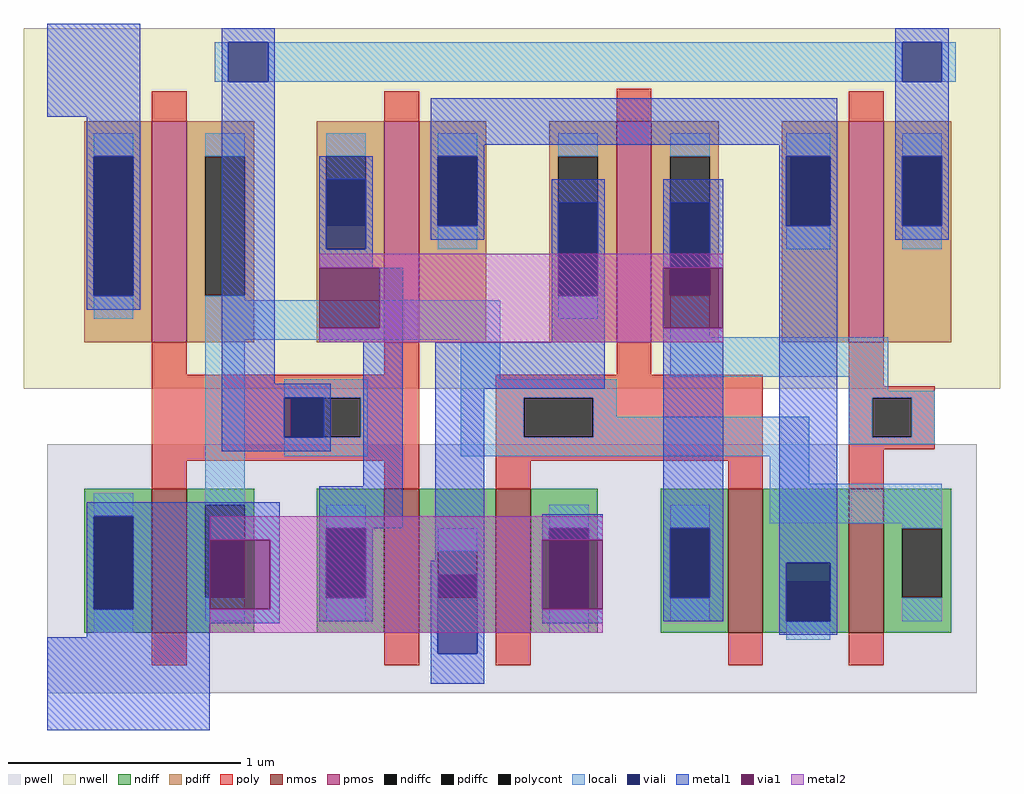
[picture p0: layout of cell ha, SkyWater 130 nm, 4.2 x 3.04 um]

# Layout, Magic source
magic
tech sky130A
magscale 1 2
<< nwell >>
rect -60 -40 780 270
<< pwell >>
rect -40 -302 760 -88
<< nmos >>
rect 50 -250 80 -126
rect 250 -250 280 -126
rect 346 -250 376 -126
rect 546 -250 576 -126
rect 650 -250 680 -126
<< pmos >>
rect 50 0 80 190
rect 250 0 280 190
rect 450 0 480 190
rect 650 0 680 190
<< ndiff >>
rect -8 -150 50 -126
rect -8 -230 0 -150
rect 34 -230 50 -150
rect -8 -250 50 -230
rect 80 -140 138 -126
rect 80 -220 96 -140
rect 130 -220 138 -140
rect 80 -250 138 -220
rect 192 -160 250 -126
rect 192 -220 200 -160
rect 234 -220 250 -160
rect 192 -250 250 -220
rect 280 -180 346 -126
rect 280 -220 296 -180
rect 330 -220 346 -180
rect 280 -250 346 -220
rect 376 -160 434 -126
rect 376 -230 392 -160
rect 426 -230 434 -160
rect 376 -250 434 -230
rect 488 -160 546 -126
rect 488 -220 496 -160
rect 530 -220 546 -160
rect 488 -250 546 -220
rect 576 -206 650 -126
rect 576 -240 596 -206
rect 634 -240 650 -206
rect 576 -250 650 -240
rect 680 -160 738 -126
rect 680 -220 696 -160
rect 730 -220 738 -160
rect 680 -250 738 -220
<< pdiff >>
rect -8 160 50 190
rect -8 40 0 160
rect 34 40 50 160
rect -8 0 50 40
rect 80 160 138 190
rect 80 40 96 160
rect 130 40 138 160
rect 80 0 138 40
rect 192 160 250 190
rect 192 100 200 160
rect 234 100 250 160
rect 192 0 250 100
rect 280 160 338 190
rect 280 100 296 160
rect 330 100 338 160
rect 280 0 338 100
rect 392 160 450 190
rect 392 40 400 160
rect 434 40 450 160
rect 392 0 450 40
rect 480 160 538 190
rect 480 40 496 160
rect 530 40 538 160
rect 480 0 538 40
rect 592 160 650 190
rect 592 100 600 160
rect 634 100 650 160
rect 592 0 650 100
rect 680 160 738 190
rect 680 100 696 160
rect 730 100 738 160
rect 680 0 738 100
<< ndiffc >>
rect 0 -230 34 -150
rect 96 -220 130 -140
rect 200 -220 234 -160
rect 296 -220 330 -180
rect 392 -230 426 -160
rect 496 -220 530 -160
rect 596 -240 634 -206
rect 696 -220 730 -160
<< pdiffc >>
rect 0 40 34 160
rect 96 40 130 160
rect 200 100 234 160
rect 296 100 330 160
rect 400 40 434 160
rect 496 40 530 160
rect 600 100 634 160
rect 696 100 730 160
<< poly >>
rect 50 190 80 216
rect 250 190 280 216
rect 450 190 480 218
rect 650 190 680 216
rect 50 -28 80 0
rect 250 -28 280 0
rect 450 -28 480 0
rect 50 -48 280 -28
rect 50 -82 170 -48
rect 230 -82 280 -48
rect 50 -102 280 -82
rect 50 -126 80 -102
rect 250 -126 280 -102
rect 346 -48 576 -28
rect 346 -82 370 -48
rect 430 -82 576 -48
rect 346 -102 576 -82
rect 346 -126 376 -102
rect 546 -126 576 -102
rect 650 -38 680 0
rect 650 -48 724 -38
rect 650 -82 670 -48
rect 704 -82 724 -48
rect 650 -92 724 -82
rect 650 -126 680 -92
rect 50 -278 80 -250
rect 250 -278 280 -250
rect 346 -278 376 -250
rect 546 -278 576 -250
rect 650 -278 680 -250
<< polycont >>
rect 170 -82 230 -48
rect 370 -82 430 -48
rect 670 -82 704 -48
<< locali >>
rect 104 224 116 258
rect 150 224 696 258
rect 730 224 742 258
rect 0 160 34 180
rect 0 20 34 40
rect 96 160 130 180
rect 200 160 234 180
rect 296 160 330 180
rect 296 80 330 100
rect 400 160 434 180
rect 96 36 130 40
rect 96 2 350 36
rect 400 20 434 40
rect 496 160 530 180
rect 596 160 634 180
rect 596 80 634 100
rect 696 160 730 180
rect 696 80 730 100
rect 0 -150 34 -130
rect 0 -250 34 -230
rect 96 -140 130 2
rect 316 -32 350 2
rect 496 4 530 40
rect 496 -30 684 4
rect 164 -48 236 -32
rect 230 -82 236 -48
rect 164 -98 236 -82
rect 316 -48 450 -32
rect 316 -82 370 -48
rect 430 -64 450 -48
rect 650 -42 684 -30
rect 650 -48 724 -42
rect 430 -82 616 -64
rect 316 -98 616 -82
rect 650 -82 670 -48
rect 704 -82 724 -48
rect 650 -88 724 -82
rect 582 -122 616 -98
rect 96 -240 130 -220
rect 200 -160 234 -140
rect 392 -160 426 -140
rect 200 -240 234 -220
rect 296 -180 330 -160
rect 392 -250 426 -230
rect 496 -160 530 -140
rect 582 -156 730 -122
rect 696 -160 730 -156
rect 496 -240 530 -220
rect 696 -240 730 -220
rect 596 -256 634 -240
<< viali >>
rect 116 224 150 258
rect 696 224 730 258
rect 0 40 34 160
rect 200 100 234 140
rect 200 80 234 100
rect 296 100 330 160
rect 400 40 434 120
rect 496 40 530 120
rect 596 100 600 160
rect 600 100 634 160
rect 696 100 730 160
rect 0 -230 34 -150
rect 164 -82 170 -48
rect 170 -82 198 -48
rect 200 -220 234 -160
rect 296 -220 330 -200
rect 296 -268 330 -220
rect 392 -230 426 -160
rect 496 -220 530 -160
rect 596 -206 634 -190
rect 596 -240 634 -206
<< metal1 >>
rect -40 194 40 274
rect -6 160 40 194
rect -6 40 0 160
rect 34 40 40 160
rect -6 28 40 40
rect 110 258 156 270
rect 110 224 116 258
rect 150 224 156 258
rect 110 -36 156 224
rect 690 258 736 270
rect 690 224 696 258
rect 730 224 736 258
rect 290 170 640 210
rect 290 160 336 170
rect 194 140 240 160
rect 194 80 200 140
rect 234 80 240 140
rect 290 100 296 160
rect 330 100 336 160
rect 590 160 640 170
rect 290 88 336 100
rect 394 120 440 140
rect 194 64 240 80
rect 246 12 266 64
rect 194 0 266 12
rect 394 40 400 120
rect 434 40 440 120
rect 394 0 440 40
rect 110 -48 204 -36
rect 110 -82 164 -48
rect 198 -82 204 -48
rect 110 -94 204 -82
rect 232 -124 266 0
rect -6 -150 160 -138
rect -6 -230 0 -150
rect 34 -170 160 -150
rect 34 -230 100 -170
rect 152 -230 160 -170
rect -6 -242 160 -230
rect 194 -160 266 -124
rect 294 -40 440 0
rect 490 120 542 140
rect 490 64 496 120
rect 530 64 542 120
rect 194 -220 200 -160
rect 234 -220 240 -160
rect 294 -188 336 -40
rect 194 -240 240 -220
rect 290 -200 336 -188
rect -6 -254 100 -242
rect -40 -334 100 -254
rect 290 -268 296 -200
rect 330 -268 336 -200
rect 386 -160 438 -148
rect 386 -170 392 -160
rect 426 -170 438 -160
rect 386 -242 438 -230
rect 490 -160 542 12
rect 490 -220 496 -160
rect 530 -220 542 -160
rect 490 -240 542 -220
rect 590 100 596 160
rect 634 100 640 160
rect 590 -190 640 100
rect 690 160 736 224
rect 690 100 696 160
rect 730 100 736 160
rect 690 88 736 100
rect 590 -240 596 -190
rect 634 -240 640 -190
rect 590 -252 640 -240
rect 290 -294 336 -268
<< via1 >>
rect 194 12 246 64
rect 100 -230 152 -170
rect 490 40 496 64
rect 496 40 530 64
rect 530 40 542 64
rect 490 12 542 40
rect 386 -230 392 -170
rect 392 -230 426 -170
rect 426 -230 438 -170
<< metal2 >>
rect 194 64 542 76
rect 246 12 490 64
rect 194 0 542 12
rect 100 -170 438 -150
rect 152 -230 386 -170
rect 100 -250 438 -230
<< properties >>
string MASKHINTS_PSDM -33 210 763 280
<< end >>
